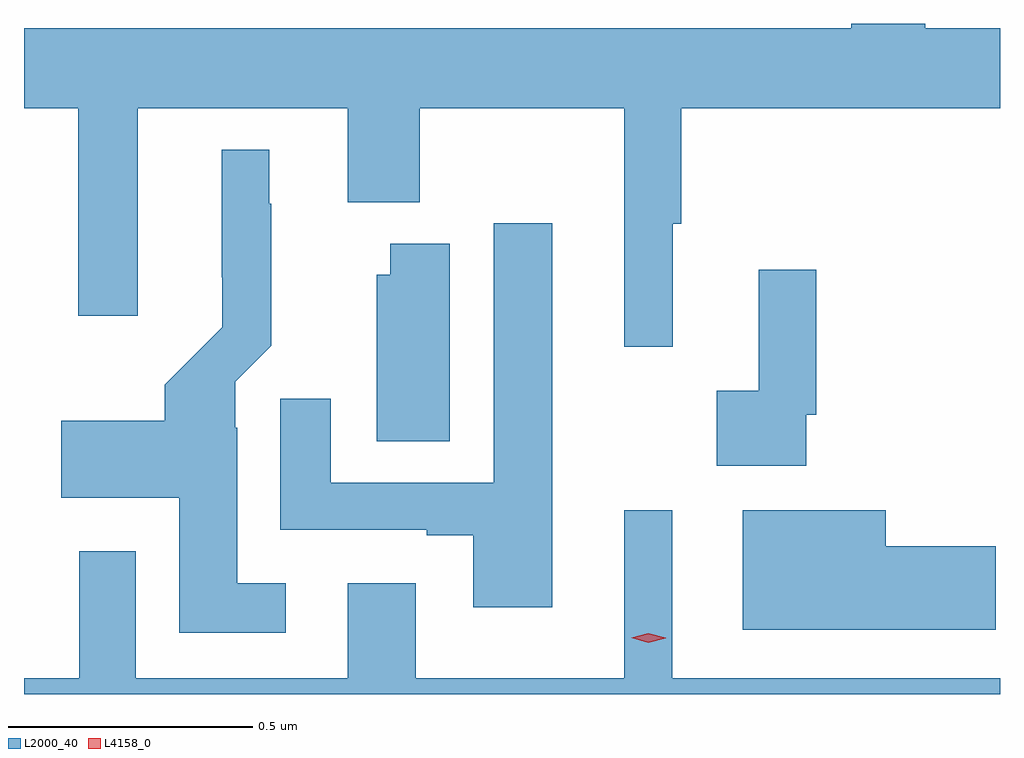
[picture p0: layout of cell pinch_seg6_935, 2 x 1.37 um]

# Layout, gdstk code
import gdstk
lib = gdstk.Library(unit=1e-6, precision=1e-09)
def P(c, l, *ps):  # polygons
    for p in ps: c.add(gdstk.Polygon(p, *l))
L2000_40 = (2000, 40)
L4158_0 = (4158, 0)

pinch_seg6_935 = lib.new_cell('pinch_seg6_935')
P(pinch_seg6_935, L2000_40, [(228.323,916.464),(228.341,916.464),(228.341,916.7),(228.994,916.7),(228.994,916.864),(228.841,916.864),(228.841,916.873),(228.689,916.873),(228.689,916.864),(226.994,916.864),(226.994,916.7),(227.105,916.7),(227.105,916.275),(227.227,916.275),(227.227,916.7),(227.657,916.7),(227.657,916.508),(227.805,916.508),(227.805,916.7),(228.224,916.7),(228.224,916.212),(228.323,916.212)],
  [(227.53,915.727),(227.431,915.727),(227.431,916.046),(227.427,916.046),(227.427,916.14),(227.501,916.214),(227.501,916.505),(227.497,916.505),(227.497,916.615),(227.399,916.615),(227.399,916.354),(227.4,916.354),(227.4,916.252),(227.282,916.134),(227.282,916.06),(227.07,916.06),(227.07,915.902),(227.312,915.902),(227.312,915.626),(227.53,915.626)],
  [(228.076,916.465),(227.957,916.465),(227.957,915.933),(227.623,915.933),(227.623,916.105),(227.519,916.105),(227.519,915.837),(227.819,915.837),(227.819,915.825),(227.915,915.825),(227.915,915.678),(228.076,915.678)],
  [(227.866,916.423),(227.744,916.423),(227.744,916.359),(227.717,916.359),(227.717,916.018),(227.866,916.018)],
  [(228.597,916.072),(228.617,916.072),(228.617,916.369),(228.5,916.369),(228.5,916.121),(228.414,916.121),(228.414,915.968),(228.597,915.968)],
  [(228.994,915.532),(228.322,915.532),(228.322,915.877),(228.224,915.877),(228.224,915.532),(227.797,915.532),(227.797,915.727),(227.657,915.727),(227.657,915.532),(227.223,915.532),(227.223,915.793),(227.107,915.793),(227.107,915.532),(226.994,915.532),(226.994,915.5),(228.994,915.5)],
  [(228.985,915.803),(228.76,915.803),(228.76,915.877),(228.467,915.877),(228.467,915.632),(228.985,915.632)])
P(pinch_seg6_935, L4158_0, [(228.273,915.605),(228.238,915.615),(228.238,915.615),(228.238,915.615),(228.273,915.625),(228.309,915.615),(228.309,915.614),(228.309,915.614)])

lib.write_gds('pinch_seg6_935.gds')
